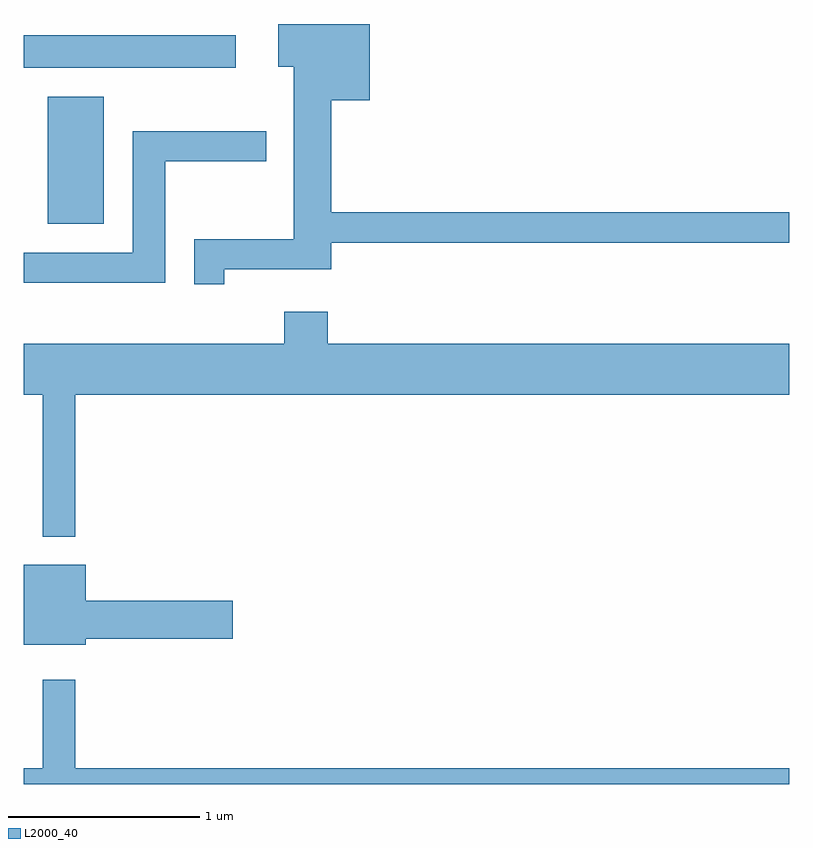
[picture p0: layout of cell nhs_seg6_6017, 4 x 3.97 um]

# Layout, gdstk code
import gdstk
lib = gdstk.Library(unit=1e-6, precision=1e-09)
def R(c, l, rs):  # rectangles x0, y0, x1, y1
    for r in rs: c.add(gdstk.rectangle(r[:2], r[2:], *l))
def P(c, l, *ps):  # polygons
    for p in ps: c.add(gdstk.Polygon(p, *l))
L2000_40 = (2000, 40)

nhs_seg6_6017 = lib.new_cell('nhs_seg6_6017')
R(nhs_seg6_6017, L2000_40, [(367.736,1613.091,368.029,1613.754), (367.611,1613.906,368.718,1614.074)])
P(nhs_seg6_6017, L2000_40, [(368.659,1612.851),(369.219,1612.851),(369.219,1612.991),(371.611,1612.991),(371.611,1613.149),(369.219,1613.149),(369.219,1613.736),(369.419,1613.736),(369.419,1614.134),(368.941,1614.134),(368.941,1613.911),(369.021,1613.911),(369.021,1613.009),(368.501,1613.009),(368.501,1612.773),(368.659,1612.773)],
  [(368.349,1613.416),(368.878,1613.416),(368.878,1613.574),(368.181,1613.574),(368.181,1612.939),(367.611,1612.939),(367.611,1612.781),(368.349,1612.781)],
  [(367.879,1612.196),(371.611,1612.196),(371.611,1612.464),(369.199,1612.464),(369.199,1612.629),(368.971,1612.629),(368.971,1612.464),(367.611,1612.464),(367.611,1612.196),(367.711,1612.196),(367.711,1611.453),(367.879,1611.453)],
  [(367.934,1610.921),(368.704,1610.921),(368.704,1611.119),(367.934,1611.119),(367.934,1611.309),(367.611,1611.309),(367.611,1610.891),(367.934,1610.891)],
  [(371.611,1610.244),(367.879,1610.244),(367.879,1610.708),(367.711,1610.708),(367.711,1610.244),(367.611,1610.244),(367.611,1610.162),(371.611,1610.162)])

lib.write_gds('nhs_seg6_6017.gds')
